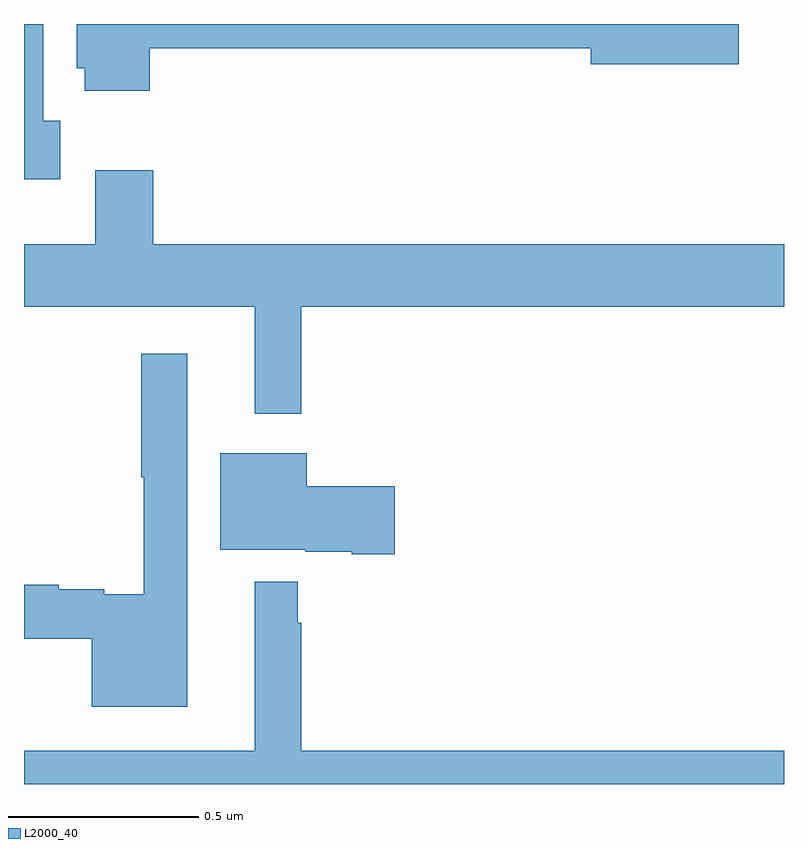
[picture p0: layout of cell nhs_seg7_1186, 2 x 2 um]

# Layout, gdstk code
import gdstk
lib = gdstk.Library(unit=1e-6, precision=1e-09)
def P(c, l, *ps):  # polygons
    for p in ps: c.add(gdstk.Polygon(p, *l))
L2000_40 = (2000, 40)

nhs_seg7_1186 = lib.new_cell('nhs_seg7_1186')
P(nhs_seg7_1186, L2000_40, [(127.331,1027.936),(128.492,1027.936),(128.492,1027.894),(128.881,1027.894),(128.881,1028),(127.139,1028),(127.139,1027.884),(127.16,1027.884),(127.16,1027.824),(127.331,1027.824)],
  [(127.096,1027.746),(127.051,1027.746),(127.051,1028),(127,1028),(127,1027.592),(127.096,1027.592)],
  [(127.729,1027.256),(129,1027.256),(129,1027.42),(127.34,1027.42),(127.34,1027.615),(127.187,1027.615),(127.187,1027.42),(127,1027.42),(127,1027.256),(127.607,1027.256),(127.607,1026.975),(127.729,1026.975)],
  [(127.429,1027.132),(127.308,1027.132),(127.308,1026.807),(127.315,1026.807),(127.315,1026.499),(127.211,1026.499),(127.211,1026.512),(127.092,1026.512),(127.092,1026.524),(127,1026.524),(127,1026.382),(127.178,1026.382),(127.178,1026.203),(127.429,1026.203)],
  [(127.975,1026.783),(127.744,1026.783),(127.744,1026.871),(127.517,1026.871),(127.517,1026.617),(127.74,1026.617),(127.74,1026.611),(127.862,1026.611),(127.862,1026.605),(127.975,1026.605)],
  [(129,1026.088),(127.729,1026.088),(127.729,1026.425),(127.721,1026.425),(127.721,1026.532),(127.607,1026.532),(127.607,1026.088),(127,1026.088),(127,1026),(129,1026)])

lib.write_gds('nhs_seg7_1186.gds')
